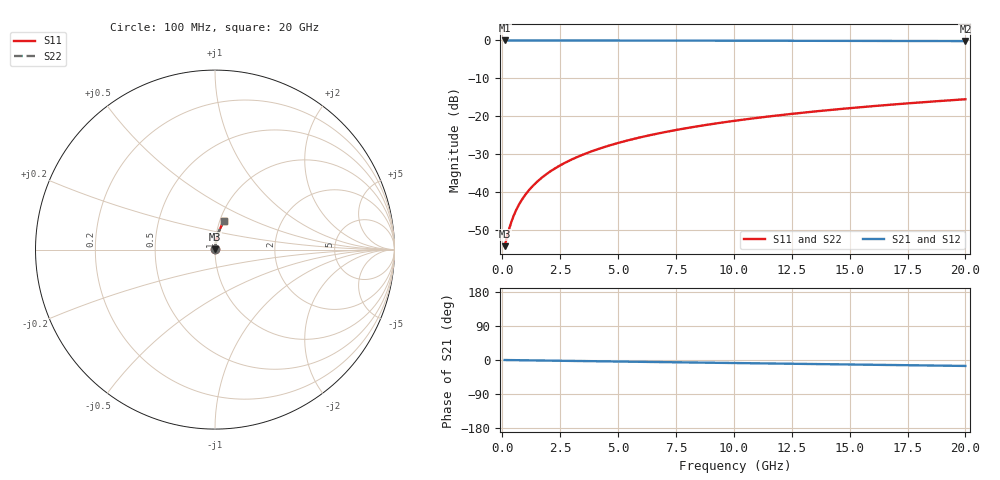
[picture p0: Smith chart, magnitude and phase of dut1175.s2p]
! Touchstone file exported from HFSS 2026.1.0
!  File:  C:/ffzhzh/LocalFiles/Ansys_Project_Files/temp_train_BSMRDL_1175_1783176053_55132.aedt
!  Generated:  10:42:05 PM Jul  4, 2026
!  Design:  BSMRDL
!  Project:  temp_train_BSMRDL_1175_1783176053_55132
! Variables:
!  h_bsmrdl = 4.37um
!  h_ox = 20um
!  h_rdl = 5um
!  h_sub = 80um
!  h_tmrdl = 5um
!  h_tsv = 80um
!  h_via = 3um
!  l_bsmrdl = 204.33um
!  l_sub = 604.33um
!  l_tmrdl = 200um
!  m_sub = 200um
!  pitch = 30.16um
!  r_tsv = 6um
!  s_tmrdl = 10um
!  w_bsmrdl = 10.43um
!  w_sub = 500um
!  w_tmrdl = 12um
!  x_tsv_center1 = 206um
!  x_tsv_center2 = 420.76um
!  x_tsv_center3 = 632.76um
!  x_tsv_center4 = 847.52um
!  x_tsv_center5 = 1059.52um
!  x_tsv_center6 = 1274.28um
# GHz S MA R 50.000000
! Terminal data exported
! Port[1] = BSM_RDL1_1_T1
! Port[2] = BSM_RDL1_1_T2
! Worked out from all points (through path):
!   200 points, 100 MHz to 20 GHz, reference 50 ohm
!   highest |S21| = -0.01 dB at 100 MHz (marker M1); lowest = -0.2 dB at 20 GHz (marker M2)
!   group delay of S21, straight-line fit = 2.17 ps
!   lowest |S11| = -54.2 dB at 100 MHz (marker M3), VSWR 1.00, Z = 50.2 + j0.0949 ohm
!   |S11| at or under -10 dB: start of sweep to end of sweep
!   |S22| runs from -54.2 to -15.5 dB; largest |S21 - S12| = 3.1e-15
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0.1  0.001941 29.2  0.9983 -0.1  0.9983 -0.1  0.001941 29.2
! Gamma 0 0 0 0
! Port Impedance 50 0 50 0
0.3  0.003312 57.7  0.9982 -0.3  0.9982 -0.3  0.003312 57.7
0.4  0.004127 63.9  0.9982 -0.3  0.9982 -0.3  0.004127 63.9
0.5  0.004965 68.0  0.9982 -0.4  0.9982 -0.4  0.004965 68.0
0.6  0.005816 71.0  0.9981 -0.5  0.9981 -0.5  0.005816 71.0
0.7  0.006675 73.1  0.9981 -0.6  0.9981 -0.6  0.006675 73.1
0.9  0.008411 76.1  0.998 -0.7  0.998 -0.7  0.008411 76.1
1.2  0.01104 78.8  0.998 -1.0  0.998 -1.0  0.01104 78.8
1.4  0.0128 79.9  0.9979 -1.1  0.9979 -1.1  0.0128 79.9
1.7  0.01546 81.0  0.9978 -1.4  0.9978 -1.4  0.01546 81.0
2.2  0.01989 82.0  0.9977 -1.8  0.9977 -1.8  0.01989 82.0
2.8  0.0252 82.5  0.9974 -2.3  0.9974 -2.3  0.0252 82.5
3.5  0.03137 82.6  0.997 -2.8  0.997 -2.8  0.03137 82.6
4.2  0.03751 82.5  0.9966 -3.4  0.9966 -3.4  0.03751 82.5
5  0.04448 82.2  0.9961 -4.0  0.9961 -4.0  0.04448 82.2
5.9  0.05225 81.7  0.9954 -4.8  0.9954 -4.8  0.05225 81.7
6.8  0.05996 81.2  0.9947 -5.5  0.9947 -5.5  0.05996 81.2
8.3  0.07269 80.2  0.9934 -6.7  0.9934 -6.7  0.07269 80.2
10.1  0.08776 79.0  0.9917 -8.1  0.9917 -8.1  0.08776 79.0
13.4  0.1149 76.7  0.9881 -10.6  0.9881 -10.6  0.1149 76.7
16.7  0.1416 74.4  0.984 -13.2  0.984 -13.2  0.1416 74.4
20  0.1676 72.1  0.9794 -15.7  0.9794 -15.7  0.1676 72.1
